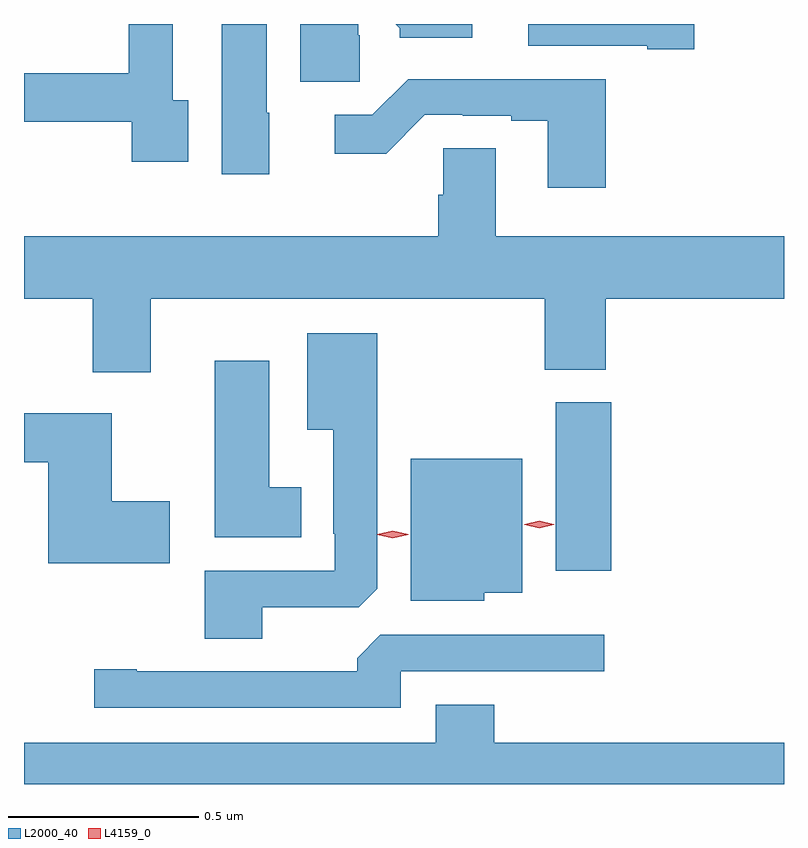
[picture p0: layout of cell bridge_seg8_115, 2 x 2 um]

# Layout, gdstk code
import gdstk
lib = gdstk.Library(unit=1e-6, precision=1e-09)
def R(c, l, rs):  # rectangles x0, y0, x1, y1
    for r in rs: c.add(gdstk.rectangle(r[:2], r[2:], *l))
def P(c, l, *ps):  # polygons
    for p in ps: c.add(gdstk.Polygon(p, *l))
L2000_40 = (2000, 40)
L4159_0 = (4159, 0)

bridge_seg8_115 = lib.new_cell('bridge_seg8_115')
R(bridge_seg8_115, L2000_40, [(851.774,1147.752,851.921,1148.196)])
P(bridge_seg8_115, L2000_40, [(851.554,1149.191),(851.353,1149.191),(851.364,1149.18),(851.364,1149.155),(851.554,1149.155)],
  [(850.807,1148.99),(850.767,1148.99),(850.767,1149.191),(850.651,1149.191),(850.651,1149.062),(850.375,1149.062),(850.375,1148.934),(850.659,1148.934),(850.659,1148.829),(850.807,1148.829)],
  [(851.02,1148.958),(851.014,1148.958),(851.014,1149.191),(850.895,1149.191),(850.895,1148.796),(851.02,1148.796)],
  [(852.139,1149.191),(851.702,1149.191),(851.702,1149.134),(852.015,1149.134),(852.015,1149.125),(852.139,1149.125)],
  [(851.258,1149.162),(851.254,1149.162),(851.254,1149.191),(851.102,1149.191),(851.102,1149.039),(851.258,1149.039)],
  [(851.906,1149.046),(851.386,1149.046),(851.292,1148.952),(851.193,1148.952),(851.193,1148.85),(851.328,1148.85),(851.43,1148.952),(851.53,1148.952),(851.53,1148.949),(851.657,1148.949),(851.657,1148.937),(851.753,1148.937),(851.753,1148.76),(851.906,1148.76)],
  [(850.708,1148.468),(851.746,1148.468),(851.746,1148.281),(851.906,1148.281),(851.906,1148.468),(852.375,1148.468),(852.375,1148.632),(851.617,1148.632),(851.617,1148.864),(851.478,1148.864),(851.478,1148.742),(851.465,1148.742),(851.465,1148.632),(850.375,1148.632),(850.375,1148.468),(850.556,1148.468),(850.556,1148.274),(850.708,1148.274)],
  [(851.002,1147.656),(851.256,1147.656),(851.305,1147.705),(851.305,1148.377),(851.12,1148.377),(851.12,1148.123),(851.189,1148.123),(851.189,1147.849),(851.193,1147.849),(851.193,1147.752),(850.85,1147.752),(850.85,1147.573),(851.002,1147.573)],
  [(851.104,1147.972),(851.02,1147.972),(851.02,1148.305),(850.877,1148.305),(850.877,1147.841),(851.104,1147.841)],
  [(850.759,1147.935),(850.606,1147.935),(850.606,1148.167),(850.375,1148.167),(850.375,1148.038),(850.439,1148.038),(850.439,1147.772),(850.759,1147.772)],
  [(851.586,1147.694),(851.686,1147.694),(851.686,1148.047),(851.393,1148.047),(851.393,1147.673),(851.586,1147.673)],
  [(851.367,1147.488),(851.902,1147.488),(851.902,1147.584),(851.313,1147.584),(851.252,1147.522),(851.252,1147.488),(850.672,1147.488),(850.672,1147.493),(850.56,1147.493),(850.56,1147.392),(851.367,1147.392)],
  [(852.375,1147.3),(851.612,1147.3),(851.612,1147.399),(851.459,1147.399),(851.459,1147.3),(850.375,1147.3),(850.375,1147.191),(852.375,1147.191)])
P(bridge_seg8_115, L4159_0, [(851.731,1147.864),(851.693,1147.873),(851.692,1147.873),(851.693,1147.874),(851.731,1147.884),(851.769,1147.874),(851.77,1147.874),(851.769,1147.873)],
  [(851.345,1147.838),(851.304,1147.847),(851.304,1147.848),(851.304,1147.848),(851.345,1147.858),(851.386,1147.848),(851.386,1147.848),(851.386,1147.847)])

lib.write_gds('bridge_seg8_115.gds')
